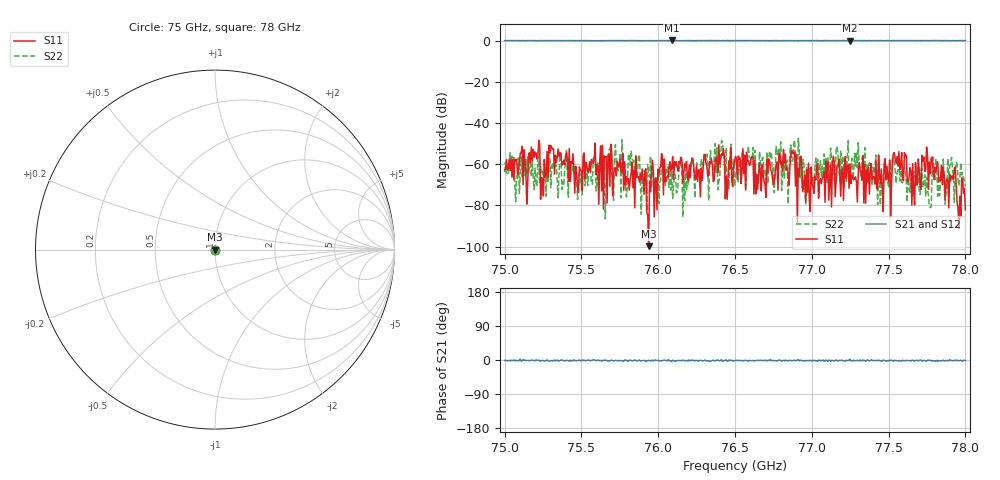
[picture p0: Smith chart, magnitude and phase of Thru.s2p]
# Hz S MA R 50
! CMT, C4420, 21421029, 25.1.2/3
! Date: 8/4/2025 4:03:25 PM
! Data: Format (Calibration Info)
! Freq	S33:Mag/Ang(F2)	S43:Mag/Ang(F2)	S34:Mag/Ang(F2)	S44:Mag/Ang(F2)
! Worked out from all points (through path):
!   500 points, 75 GHz to 78 GHz, reference 50 ohm
!   highest |S21| = 0.08 dB at 76.088 GHz (marker M1); lowest = -0.1 dB at 77.248 GHz (marker M2)
!   lowest |S11| = -99.8 dB at 75.938 GHz (marker M3), VSWR 1.00, Z = 50 - j0.000999 ohm
!   |S11| at or under -10 dB: start of sweep to end of sweep
!   |S22| runs from -86.6 to -47.4 dB; largest |S21 - S12| = 0.12
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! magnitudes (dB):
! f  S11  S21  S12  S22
! 75 GHz  -62.8  0.0  0.0  -64.0
! 75.246 GHz  -67.4  0.0  0.0  -63.4
! 75.301 GHz  -50.9  0.0  0.0  -71.4
! 75.505 GHz  -72.6  0.0  0.0  -74.9
! 75.661 GHz  -56.3  0.0  0.0  -70.6
! 75.685 GHz  -70.8  0.0  0.0  -52.9
! 75.938 GHz  -99.8  0.0  0.0  -65.2
! 76.004 GHz  -66.0  0.0  0.0  -79.1
! 76.088 GHz  -61.8  0.1  0.0  -63.5
! 76.389 GHz  -64.1  0.0  0.0  -72.4
! 76.419 GHz  -55.6  0.1  0.0  -49.7
! 76.449 GHz  -76.5  0.1  0.0  -77.1
! 76.503 GHz  -56.2  0.0  0.0  -65.8
! 76.689 GHz  -68.5  0.0  -0.1  -64.4
! 76.876 GHz  -54.7  0.0  0.0  -58.4
! 77.002 GHz  -69.2  0.0  0.0  -67.6
! 77.248 GHz  -59.9  -0.1  0.0  -66.4
! 77.501 GHz  -68.3  0.0  0.0  -71.0
! 77.543 GHz  -57.3  0.0  -0.1  -63.3
! 77.657 GHz  -59.8  0.0  0.0  -65.5
! 77.741 GHz  -62.5  0.0  0.0  -75.5
! 78 GHz  -82.2  0.0  0.0  -71.0
